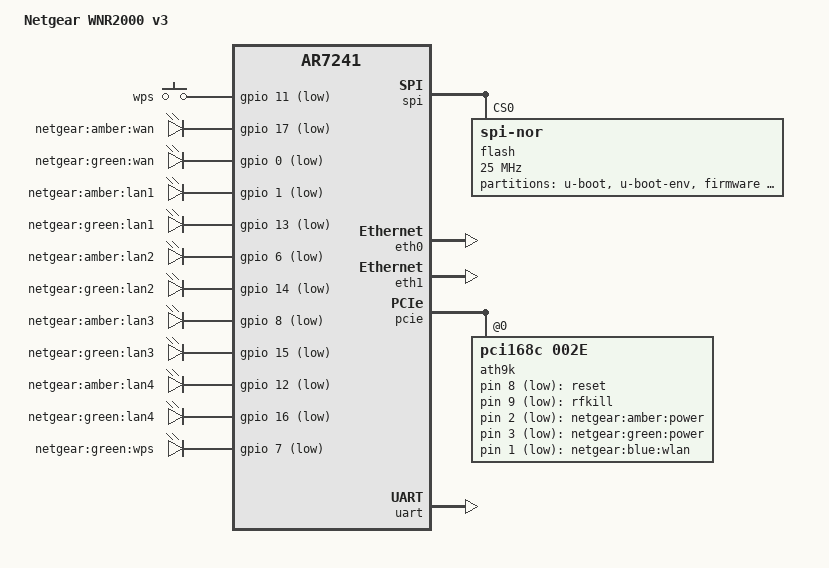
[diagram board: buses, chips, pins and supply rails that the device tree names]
// SPDX-License-Identifier: GPL-2.0-or-later OR MIT
/dts-v1/;

#include <dt-bindings/gpio/gpio.h>
#include <dt-bindings/input/input.h>

#include "ar7241.dtsi"

/ {
	compatible = "netgear,wnr2000-v3", "qca,ar7241";
	model = "Netgear WNR2000 v3";

	aliases {
		led-status = &led_power;
	};

	gpio-keys-polled {
		compatible = "gpio-keys-polled";
		#address-cells = <1>;
		#size-cells = <0>;
		poll-interval = <20>;

		reset {
			label = "reset";
			linux,code = <KEY_RESTART>;
			gpios = <&ath9k 8 GPIO_ACTIVE_LOW>;
			debounce-interval = <60>;
		};

		rfkill {
			label = "rfkill";
			linux,code = <KEY_RFKILL>;
			gpios = <&ath9k 9 GPIO_ACTIVE_LOW>;
			debounce-interval = <60>;
		};

		wps {
			label = "wps";
			linux,code = <KEY_WPS_BUTTON>;
			gpios = <&gpio 11 GPIO_ACTIVE_LOW>;
			debounce-interval = <60>;
		};
	};

	gpio-leds {
		compatible = "gpio-leds";

		power_amber {
			label = "netgear:amber:power";
			gpios = <&ath9k 2 GPIO_ACTIVE_LOW>;
		};

		led_power: power_green {
			label = "netgear:green:power";
			gpios = <&ath9k 3 GPIO_ACTIVE_LOW>;
		};

		wan_amber {
			label = "netgear:amber:wan";
			gpios = <&gpio 17 GPIO_ACTIVE_LOW>;
		};

		wan_green {
			label = "netgear:green:wan";
			gpios = <&gpio 0 GPIO_ACTIVE_LOW>;
		};

		wlan_blue {
			label = "netgear:blue:wlan";
			gpios = <&ath9k 1 GPIO_ACTIVE_LOW>;
			default-state = "off";
			linux,default-trigger = "phy0tpt";
		};

		lan1_amber {
			label = "netgear:amber:lan1";
			gpios = <&gpio 1 GPIO_ACTIVE_LOW>;
		};

		lan1_green {
			label = "netgear:green:lan1";
			gpios = <&gpio 13 GPIO_ACTIVE_LOW>;
		};

		lan2_amber {
			label = "netgear:amber:lan2";
			gpios = <&gpio 6 GPIO_ACTIVE_LOW>;
		};

		lan2_green {
			label = "netgear:green:lan2";
			gpios = <&gpio 14 GPIO_ACTIVE_LOW>;
		};

		lan3_amber {
			label = "netgear:amber:lan3";
			gpios = <&gpio 8 GPIO_ACTIVE_LOW>;
		};

		lan3_green {
			label = "netgear:green:lan3";
			gpios = <&gpio 15 GPIO_ACTIVE_LOW>;
		};

		lan4_amber {
			label = "netgear:amber:lan4";
			gpios = <&gpio 12 GPIO_ACTIVE_LOW>;
		};

		lan4_green {
			label = "netgear:green:lan4";
			gpios = <&gpio 16 GPIO_ACTIVE_LOW>;
		};

		wps_green {
			label = "netgear:green:wps";
			gpios = <&gpio 7 GPIO_ACTIVE_LOW>;
			default-state = "off";
		};
	};
};

&spi {
	status = "okay";
	num-cs = <1>;

	flash@0 {
		#address-cells = <1>;
		#size-cells = <1>;
		compatible = "jedec,spi-nor";
		reg = <0>;
		spi-max-frequency = <25000000>;

		partitions {
			compatible = "fixed-partitions";
			#address-cells = <1>;
			#size-cells = <1>;

			partition@0 {
				reg = <0x0 0x40000>;
				label = "u-boot";
				read-only;
			};

			partition@40000 {
				reg = <0x40000 0x10000>;
				label = "u-boot-env";
			};

			partition@50000 {
				reg = <0x50000 0x3a0000>;
				label = "firmware";
			};

			art: partition@3f0000 {
				reg = <0x3f0000 0x10000>;
				label = "art";
				read-only;
			};
		};
	};
};

&eth0 {
	status = "okay";

	mtd-mac-address = <&art 0x00>;
};

&eth1 {
	status = "okay";

	mtd-mac-address = <&art 0x06>;
};

&pcie {
	status = "okay";

	ath9k: wifi@168c,002e {
		compatible = "pci168c,002e";
		reg = <0x0000 0 0 0 0>;
		qca,no-eeprom;
		mtd-mac-address = <&art 0x06>;
		mtd-mac-address-increment = <1>;
		#gpio-cells = <2>;
		gpio-controller;
	};
};

&uart {
	status = "okay";
};
